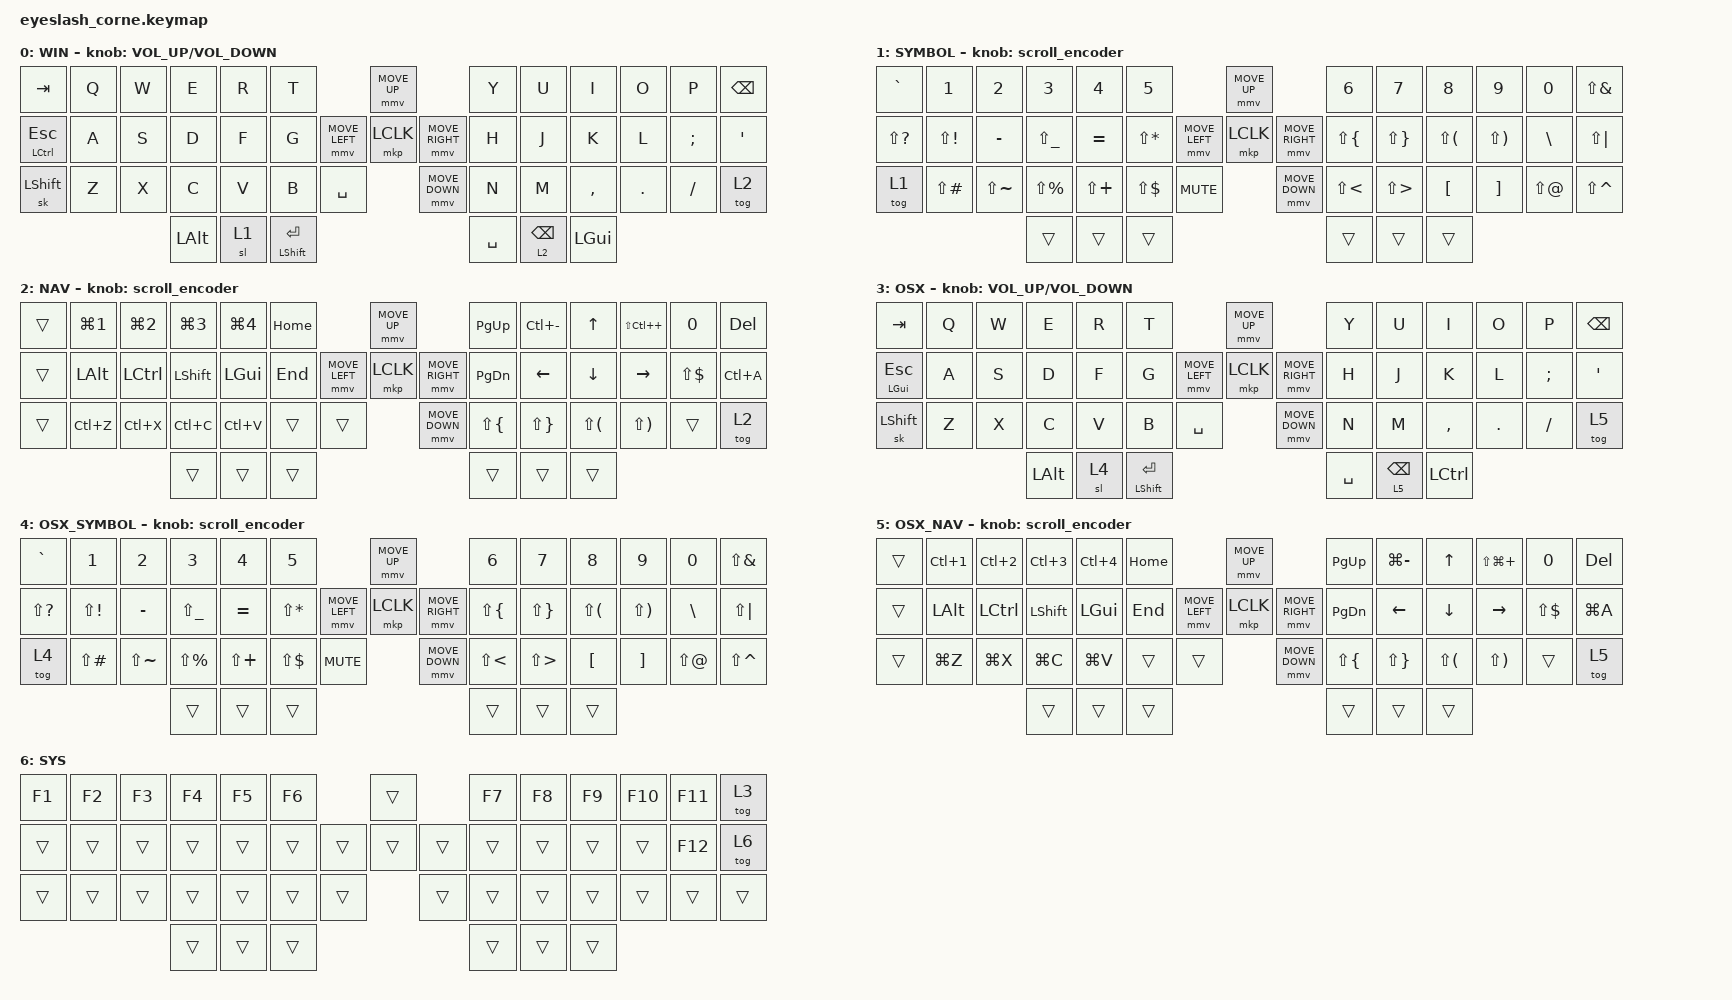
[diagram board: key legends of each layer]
#define ZMK_POINTING_DEFAULT_MOVE_VAL 1200  // 600
#define ZMK_POINTING_DEFAULT_SCRL_VAL 25   // 10

#include <input/processors.dtsi>
#include <zephyr/dt-bindings/input/input-event-codes.h>
#include <behaviors.dtsi>
#include <dt-bindings/zmk/keys.h>
#include <dt-bindings/zmk/pointing.h>
#include <dt-bindings/zmk/rgb.h>

&mmv_input_listener { input-processors = <&zip_xy_scaler 2 1>; };

&msc_input_listener { input-processors = <&zip_scroll_scaler 2 1>; };

&msc {
    acceleration-exponent = <1>;      // 0
    time-to-max-speed-ms = <100>;       // 300
    delay-ms = <0>;                   // 0
};

&mmv {
    time-to-max-speed-ms = <500>;
    acceleration-exponent = <1>;
    trigger-period-ms = <16>;
};

/ {
    behaviors {
    };

    rgb_encoder: rgb_encoder {
        compatible = "zmk,behavior-sensor-rotate";
        #sensor-binding-cells = <0>;
        bindings = <&rgb_ug RGB_BRI>, <&rgb_ug RGB_BRD>;
    };

    scroll_encoder: scroll_encoder {
        compatible = "zmk,behavior-sensor-rotate";
        #sensor-binding-cells = <0>;
        bindings = <&msc SCRL_DOWN>, <&msc SCRL_UP>;

        tap-ms = <100>;
    };

    combos {
        compatible = "zmk,combos";

        toggle_sys {
            bindings = <&mo 6>;
            key-positions = <43 46>;
        };
    };

    keymap {
        compatible = "zmk,keymap";

        default_win {
            display-name = "WIN";
            bindings = <
&kp TAB           &kp Q  &kp W  &kp E         &kp R  &kp T                                              &mmv MOVE_UP                     &kp Y      &kp U            &kp I      &kp O    &kp P     &kp BSPC
&mt LCTRL ESCAPE  &kp A  &kp S  &kp D         &kp F  &kp G                              &mmv MOVE_LEFT  &mkp LCLK       &mmv MOVE_RIGHT  &kp H      &kp J            &kp K      &kp L    &kp SEMI  &kp SQT
&sk LEFT_SHIFT    &kp Z  &kp X  &kp C         &kp V  &kp B                 &kp SPACE                    &mmv MOVE_DOWN                   &kp N      &kp M            &kp COMMA  &kp DOT  &kp FSLH  &tog 2
                                &kp LEFT_ALT  &sl 1  &mt LEFT_SHIFT ENTER                                                                &kp SPACE  &lt 2 BACKSPACE  &kp LGUI
            >;

            sensor-bindings = <&inc_dec_kp C_VOLUME_UP C_VOLUME_DOWN>;
        };

        sym_layer_win {
            display-name = "SYMBOL";
            bindings = <
&kp GRAVE      &kp N1         &kp N2         &kp N3         &kp N4        &kp N5                                      &mmv MOVE_UP                     &kp N6        &kp N7        &kp N8        &kp N9        &kp N0      &kp LS(AMPS)
&kp LS(QMARK)  &kp LS(EXCL)   &kp MINUS      &kp LS(UNDER)  &kp EQUAL     &kp LS(STAR)                &mmv MOVE_LEFT  &mkp LCLK       &mmv MOVE_RIGHT  &kp LS(LBRC)  &kp LS(RBRC)  &kp LS(LPAR)  &kp LS(RPAR)  &kp BSLH    &kp LS(PIPE)
&tog 1         &kp LS(POUND)  &kp LS(TILDE)  &kp LS(PRCNT)  &kp LS(PLUS)  &kp LS(DLLR)  &kp C_MUTE                    &mmv MOVE_DOWN                   &kp LS(LT)    &kp LS(GT)    &kp LBKT      &kp RBKT      &kp LS(AT)  &kp LS(CARET)
                                             &trans         &trans        &trans                                                                       &trans        &trans        &trans
            >;

            sensor-bindings = <&scroll_encoder>;
        };

        nav_layer_win {
            display-name = "NAV";
            bindings = <
&trans  &kp LG(NUMBER_1)  &kp LG(NUMBER_2)  &kp LG(NUMBER_3)  &kp LG(NUMBER_4)  &kp HOME                            &mmv MOVE_UP                     &kp PG_UP     &kp LC(MINUS)  &kp UP        &kp LS(LC(PLUS))  &kp N0        &kp DEL
&trans  &kp LALT          &kp LCTRL         &kp LSHFT         &kp LGUI          &kp END             &mmv MOVE_LEFT  &mkp LCLK       &mmv MOVE_RIGHT  &kp PG_DN     &kp LEFT       &kp DOWN      &kp RIGHT         &kp LS(DLLR)  &kp LC(A)
&trans  &kp LC(Z)         &kp LC(X)         &kp LC(C)         &kp LC(V)         &trans    &trans                    &mmv MOVE_DOWN                   &kp LS(LBRC)  &kp LS(RBRC)   &kp LS(LPAR)  &kp LS(RPAR)      &trans        &tog 2
                                            &trans            &trans            &trans                                                               &trans        &trans         &trans
            >;

            sensor-bindings = <&scroll_encoder>;
        };

        default_osx {
            display-name = "OSX";
            bindings = <
&kp TAB          &kp Q  &kp W  &kp E         &kp R  &kp T                                              &mmv MOVE_UP                     &kp Y      &kp U            &kp I      &kp O    &kp P     &kp BSPC
&mt LGUI ESCAPE  &kp A  &kp S  &kp D         &kp F  &kp G                              &mmv MOVE_LEFT  &mkp LCLK       &mmv MOVE_RIGHT  &kp H      &kp J            &kp K      &kp L    &kp SEMI  &kp SQT
&sk LEFT_SHIFT   &kp Z  &kp X  &kp C         &kp V  &kp B                 &kp SPACE                    &mmv MOVE_DOWN                   &kp N      &kp M            &kp COMMA  &kp DOT  &kp FSLH  &tog 5
                               &kp LEFT_ALT  &sl 4  &mt LEFT_SHIFT ENTER                                                                &kp SPACE  &lt 5 BACKSPACE  &kp LCTRL
            >;

            sensor-bindings = <&inc_dec_kp C_VOLUME_UP C_VOLUME_DOWN>;
        };

        sym_layer_osx {
            display-name = "OSX_SYMBOL";
            bindings = <
&kp GRAVE      &kp N1         &kp N2         &kp N3         &kp N4        &kp N5                                      &mmv MOVE_UP                     &kp N6        &kp N7        &kp N8        &kp N9        &kp N0      &kp LS(AMPS)
&kp LS(QMARK)  &kp LS(EXCL)   &kp MINUS      &kp LS(UNDER)  &kp EQUAL     &kp LS(STAR)                &mmv MOVE_LEFT  &mkp LCLK       &mmv MOVE_RIGHT  &kp LS(LBRC)  &kp LS(RBRC)  &kp LS(LPAR)  &kp LS(RPAR)  &kp BSLH    &kp LS(PIPE)
&tog 4         &kp LS(POUND)  &kp LS(TILDE)  &kp LS(PRCNT)  &kp LS(PLUS)  &kp LS(DLLR)  &kp C_MUTE                    &mmv MOVE_DOWN                   &kp LS(LT)    &kp LS(GT)    &kp LBKT      &kp RBKT      &kp LS(AT)  &kp LS(CARET)
                                             &trans         &trans        &trans                                                                       &trans        &trans        &trans
            >;

            sensor-bindings = <&scroll_encoder>;
        };

        nav_layer_osx {
            display-name = "OSX_NAV";
            bindings = <
&trans  &kp LC(NUMBER_1)  &kp LC(NUMBER_2)  &kp LC(NUMBER_3)  &kp LC(NUMBER_4)  &kp HOME                            &mmv MOVE_UP                     &kp PG_UP     &kp LG(MINUS)  &kp UP        &kp LS(LG(PLUS))  &kp N0        &kp DEL
&trans  &kp LALT          &kp LCTRL         &kp LSHFT         &kp LGUI          &kp END             &mmv MOVE_LEFT  &mkp LCLK       &mmv MOVE_RIGHT  &kp PG_DN     &kp LEFT       &kp DOWN      &kp RIGHT         &kp LS(DLLR)  &kp LG(A)
&trans  &kp LG(Z)         &kp LG(X)         &kp LG(C)         &kp LG(V)         &trans    &trans                    &mmv MOVE_DOWN                   &kp LS(LBRC)  &kp LS(RBRC)   &kp LS(LPAR)  &kp LS(RPAR)      &trans        &tog 5
                                            &trans            &trans            &trans                                                               &trans        &trans         &trans
            >;

            sensor-bindings = <&scroll_encoder>;
        };

        sys {
            bindings = <
&kp F1  &kp F2  &kp F3  &kp F4  &kp F5  &kp F6                    &trans          &kp F7  &kp F8  &kp F9  &kp F10  &kp F11  &tog 3
&trans  &trans  &trans  &trans  &trans  &trans            &trans  &trans  &trans  &trans  &trans  &trans  &trans   &kp F12  &tog 6
&trans  &trans  &trans  &trans  &trans  &trans  &trans            &trans          &trans  &trans  &trans  &trans   &trans   &trans
                        &trans  &trans  &trans                                    &trans  &trans  &trans
            >;

            label = "SYS";
        };
    };
};
